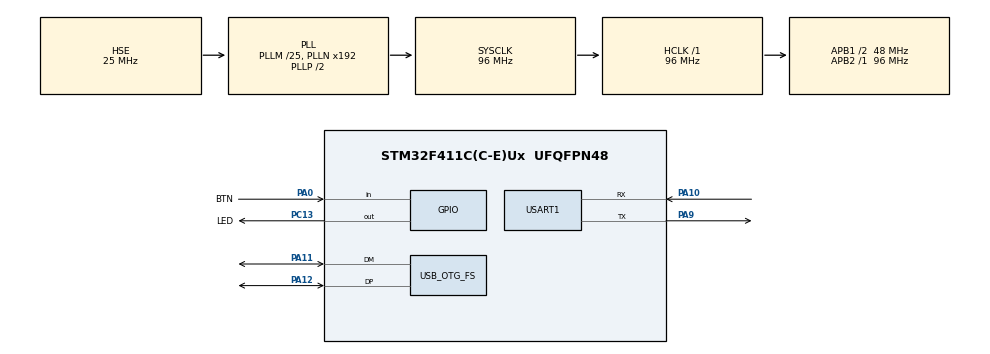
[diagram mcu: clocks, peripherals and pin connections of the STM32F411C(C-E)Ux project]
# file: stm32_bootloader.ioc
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Mcu.Family=STM32F4
Mcu.Name=STM32F411C(C-E)Ux
Mcu.Package=UFQFPN48
NVIC.OTG_FS_IRQn=true\:0\:0\:false\:false\:true\:false\:true\:true
NVIC.PriorityGroup=NVIC_PRIORITYGROUP_4
PA0-WKUP.GPIO_Label=BTN
PA0-WKUP.GPIO_PuPd=GPIO_PULLUP
PA0-WKUP.Signal=GPIO_Input
PA10.Mode=Asynchronous
PA10.Signal=USART1_RX
PA11.Mode=Device_Only
PA11.Signal=USB_OTG_FS_DM
PA12.Mode=Device_Only
PA12.Signal=USB_OTG_FS_DP
PA13.Mode=Serial_Wire
PA13.Signal=SYS_JTMS-SWDIO
PA14.Mode=Serial_Wire
PA14.Signal=SYS_JTCK-SWCLK
PA9.Mode=Asynchronous
PA9.Signal=USART1_TX
PC13-ANTI_TAMP.GPIO_Label=LED
PC13-ANTI_TAMP.GPIO_ModeDefaultOutputPP=GPIO_MODE_OUTPUT_OD
PC13-ANTI_TAMP.GPIO_PuPd=GPIO_NOPULL
PC13-ANTI_TAMP.PinState=GPIO_PIN_SET
PC13-ANTI_TAMP.Signal=GPIO_Output
PH0\ -\ OSC_IN.Mode=HSE-External-Oscillator
PH0\ -\ OSC_IN.Signal=RCC_OSC_IN
PH1\ -\ OSC_OUT.Mode=HSE-External-Oscillator
PH1\ -\ OSC_OUT.Signal=RCC_OSC_OUT
ProjectManager.HeapSize=0x200
ProjectManager.StackSize=0x400
ProjectManager.TargetToolchain=STM32CubeIDE
RCC.48MHZClocksFreq_Value=48000000
RCC.AHBFreq_Value=96000000
RCC.APB1CLKDivider=RCC_HCLK_DIV2
RCC.APB1Freq_Value=48000000
RCC.APB1TimFreq_Value=96000000
RCC.APB2Freq_Value=96000000
RCC.APB2TimFreq_Value=96000000
RCC.CortexFreq_Value=96000000
RCC.HCLKFreq_Value=96000000
RCC.HSE_VALUE=25000000
RCC.HSI_VALUE=16000000
RCC.LSE_VALUE=32768
RCC.PLLM=25
RCC.SYSCLKFreq_VALUE=96000000
RCC.SYSCLKSource=RCC_SYSCLKSOURCE_PLLCLK
RCC.VCOOutputFreq_Value=192000000
USART1.VirtualMode=VM_ASYNC
USB_DEVICE.CLASS_NAME_FS=DFU
USB_DEVICE.USBD_DFU_APP_DEFAULT_ADD=0x08008000
USB_DEVICE.VirtualMode=Dfu
USB_DEVICE.VirtualModeFS=Dfu_FS
USB_OTG_FS.VirtualMode=Device_Only
VP_USB_DEVICE_VS_USB_DEVICE_DFU_FS.Mode=DFU_FS
board=custom

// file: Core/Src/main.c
/* USER CODE BEGIN Header */
/**
 ******************************************************************************
 * @file           : main.c
 * @brief          : Main program body
 ******************************************************************************
 * @attention
 *
 * Copyright (c) 2025 STMicroelectronics.
 * All rights reserved.
 *
 * This software is licensed under terms that can be found in the LICENSE file
 * in the root directory of this software component.
 * If no LICENSE file comes with this software, it is provided AS-IS.
 *
 ******************************************************************************
 */
/* USER CODE END Header */
#include "main.h"

#include "gpio.h"
#include "usart.h"
#include "usb_device.h"

/* USER CODE BEGIN PD */
typedef struct {
    __IO uint32_t flag, reserved;
} boot_flag_t;

#define APP_ADDR (0x08008000UL)

#define BOOT_FLAG_ADDR (0x20000000UL)
#define APP_FLAG (0xDEADBEEFUL)  // Signal: Jump to Application
#define DFU_FLAG (0xA5A5A5A5UL)  // Signal: Enter Firmware Update mode

#define RESERVED (0x0U)

#define APP_SP (*(__IO uint32_t *)(APP_ADDR))         // app stack pointer addr
#define APP_ENTRY (*(__IO uint32_t *)(APP_ADDR + 4))  // app reset handler addr

#define BOOT_FLAG_PTR ((boot_flag_t *)BOOT_FLAG_ADDR)
/* USER CODE END PD */

void SystemClock_Config(void);

/* USER CODE BEGIN 0 */

void _halt() {
    __disable_irq();
    while (1) {
        __WFI();
    }
}

void delay(uint32_t ms) {
    uint32_t _wait = uwTick + ms;
    while ((int32_t)(uwTick - _wait) < 0) {
        __NOP();
    }
}

void set_boot_flag(uint32_t flag) {
    BOOT_FLAG_PTR->flag = flag;
    BOOT_FLAG_PTR->reserved = RESERVED;
}

void check_app_vector_table(void) {
    uint8_t is_app_sp_valid = (APP_SP >= SRAM_BASE) && (APP_SP <= SRAM_BASE + 128 * 1024) && ((APP_SP & 0x3UL) == 0x0U);
    uint8_t is_app_entry_valid = (APP_ENTRY >= APP_ADDR) && (APP_ENTRY <= FLASH_END);
    uint8_t is_thumb_mode = (APP_ENTRY & 0x1UL) == 0x1UL;

    uint8_t is_app_present = is_app_sp_valid && is_app_entry_valid && is_thumb_mode;

    // #define COLOR_RESET "\x1B[0m"
    // #define COLOR_BORDER "\x1B[35m"  // Magenta for borders
    // #define COLOR_HEADER "\x1B[36m"  // Cyan for section headers
    // #define COLOR_LABEL "\x1B[37m"   // White/gray for field names
    // #define COLOR_ADDR "\x1B[33m"    // Yellow for addresses
    // #define COLOR_TRUE "\x1B[32m"    // Green for true
    // #define COLOR_FALSE "\x1B[31m"   // Red for false
    //
    // #define BOOL_COLOR(b) ((b) ? COLOR_TRUE "true " COLOR_RESET : COLOR_FALSE "false" COLOR_RESET)
    //
    //     printf(COLOR_BORDER "┌──────────────────────────────────────────────┐\n" COLOR_RESET);
    //     printf(COLOR_BORDER "│" COLOR_HEADER "               Bootloader Info                " COLOR_BORDER "│\n" COLOR_RESET);
    //     printf(COLOR_BORDER "├──────────────────────────────────────────────┤\n" COLOR_RESET);
    //
    //     printf(COLOR_BORDER "│" COLOR_LABEL " Boot_Flag.flag        : " COLOR_ADDR "0x%08lX" COLOR_BORDER "           │\n" COLOR_RESET, BOOT_FLAG_PTR->flag);
    //     printf(COLOR_BORDER "│" COLOR_LABEL " Boot_Flag.reserved    : " COLOR_ADDR "0x%08lX" COLOR_BORDER "           │\n" COLOR_RESET, BOOT_FLAG_PTR->reserved);
    //     printf(COLOR_BORDER "│                                              │\n" COLOR_RESET);
    //
    //     printf(COLOR_BORDER "│" COLOR_HEADER " App Vector Table:                            " COLOR_BORDER "│\n" COLOR_RESET);
    //     printf(COLOR_BORDER "│" COLOR_LABEL "   APP_SP              : " COLOR_ADDR "0x%08lX" COLOR_BORDER "           │\n" COLOR_RESET, APP_SP);
    //     printf(COLOR_BORDER "│" COLOR_LABEL "   APP_ENTRY           : " COLOR_ADDR "0x%08lX" COLOR_BORDER "           │\n" COLOR_RESET, APP_ENTRY);
    //     printf(COLOR_BORDER "│                                              │\n" COLOR_RESET);
    //
    //     printf(COLOR_BORDER "│" COLOR_HEADER " User Application Details:                    " COLOR_BORDER "│\n" COLOR_RESET);
    //     printf(COLOR_BORDER "│" COLOR_LABEL "   Stack Pointer in RAM  : %s" COLOR_BORDER "              │\n" COLOR_RESET, BOOL_COLOR(is_app_sp_valid));
    //     printf(COLOR_BORDER "│" COLOR_LABEL "   Entry Point in Flash  : %s" COLOR_BORDER "              │\n" COLOR_RESET, BOOL_COLOR(is_app_entry_valid));
    //     printf(COLOR_BORDER "│" COLOR_LABEL "   Entry is Thumb Mode   : %s" COLOR_BORDER "              │\n" COLOR_RESET, BOOL_COLOR(is_thumb_mode));
    //     printf(COLOR_BORDER "│                                              │\n" COLOR_RESET);
    //
    //     printf(COLOR_BORDER "│" COLOR_HEADER " => User Application Available : %s" COLOR_BORDER "        │\n" COLOR_RESET, BOOL_COLOR(is_app_present));
    //     printf(COLOR_BORDER "└──────────────────────────────────────────────┘\n" COLOR_RESET);

#define BOOL_STR(bool) ((bool) ? "true" : "false")
    printf("\n+---------------------------------------------+\n");
    printf("|               Bootloader Info               |\n");
    printf("+---------------------------------------------+\n");

    printf("| Boot Flag .flag       : 0x%08lX          |\n", BOOT_FLAG_PTR->flag);
    printf("| Boot Flag .reserved   : 0x%08lX          |\n", BOOT_FLAG_PTR->reserved);
    printf("|                                             |\n");

    printf("| User Application Vector Table:              |\n");
    printf("|   Application Stack   : 0x%08lX          |\n", APP_SP);
    printf("|   Application Entry   : 0x%08lX          |\n", APP_ENTRY);
    printf("|                                             |\n");

    printf("| User Application Details:                   |\n");
    printf("|   Stack Pointer in RAM : %-5s              |\n", BOOL_STR(is_app_sp_valid));
    printf("|   Entry Point in Flash : %-5s              |\n", BOOL_STR(is_app_entry_valid));
    printf("|   MCU in Thumb Mode    : %-5s              |\n", BOOL_STR(is_thumb_mode));
    printf("|                                             |\n");

    printf("| => User Application Valid : %-5s           |\n", BOOL_STR(is_app_present));
    printf("+--------------------xxx----------------------+\n\n");
}

uint8_t is_app_vector_table_valid(void) {
    uint8_t is_app_sp_valid = (APP_SP >= SRAM_BASE) && (APP_SP <= SRAM_BASE + 128 * 1024) && ((APP_SP & 0x3UL) == 0x0U);
    uint8_t is_app_entry_valid = (APP_ENTRY >= APP_ADDR) && (APP_ENTRY <= FLASH_END);
    uint8_t is_thumb_mode = (APP_ENTRY & 0x1UL) == 0x1UL;

    return is_app_sp_valid && is_app_entry_valid && is_thumb_mode;
}

void jump_to_application(void) {
    __set_MSP(APP_SP);

    SCB->VTOR = APP_ADDR;
    ((void (*)(void))APP_ENTRY)();

    _halt();
}

void check_boot_flag() {
    if (BOOT_FLAG_PTR->flag == APP_FLAG && BOOT_FLAG_PTR->reserved == RESERVED) {
        set_boot_flag(RESERVED);
        jump_to_application();
    }
}

void check_firmware_upgrade_btn(void) {
    if (BOOT_FLAG_PTR->flag == DFU_FLAG && BOOT_FLAG_PTR->reserved == RESERVED) {
        set_boot_flag(RESERVED);
        return;
    }

    if (HAL_GPIO_ReadPin(BTN_GPIO_Port, BTN_Pin) == GPIO_PIN_RESET) {
        printf("Button is pressed, Waiting for realease...\n");
        while (HAL_GPIO_ReadPin(GPIOA, GPIO_PIN_0) == GPIO_PIN_RESET) {
            delay(10);
        }
        delay(50);  // debounce wait...
        printf("Button is released, Entering in DFU mode...\n");

        set_boot_flag(DFU_FLAG);
    } else {
        printf("Booting User Application...\n");

        if (!is_app_vector_table_valid()) {
            delay(500);
            printf("Failed, User Application is not available...\n");

            // delay(50);
            Error_Handler();
        }

        set_boot_flag(APP_FLAG);
    }

    delay(10);
    NVIC_SystemReset();
}

void print_boot_flag(void) {
    printf("Boot_Flag flag    : 0x%08lX\n", BOOT_FLAG_PTR->flag);
    printf("Boot_Flag reserved: 0x%08lX\n", BOOT_FLAG_PTR->reserved);
}

void print_boot_flag_bytes(void) {
    __IO uint8_t *boot_flag_bytes = (__IO uint8_t *)BOOT_FLAG_ADDR;

    printf("BOOT_FLAG_PTR 8-byte region at 0x20000000:\n");

    for (int i = 0; i < 8; ++i) {
        printf("0x%08lX: 0x%02X\n", BOOT_FLAG_ADDR + i, boot_flag_bytes[i]);
    }
}

typedef struct {
    uint32_t interval;
    uint32_t last_tick;
} TimedTask;

uint8_t is_time_elapsed(TimedTask *task, uint32_t now) {
    if ((int32_t)(now - task->last_tick) >= (int32_t)task->interval) {
        task->last_tick = now;
        return 1;
    }
    return 0;
}

/* USER CODE END 0 */

int main(void) {
    /* USER CODE BEGIN 1 */
    check_boot_flag();
    /* USER CODE END 1 */

    /* MCU Configuration--------------------------------------------------------*/

    /* Reset of all peripherals, Initializes the Flash interface and the Systick.
     */
    HAL_Init();

    /* Configure the system clock */
    SystemClock_Config();

    /* USER CODE BEGIN SysInit */

    MX_GPIO_Init();
    MX_USART1_UART_Init();

    check_app_vector_table();
    check_firmware_upgrade_btn();

    /* USER CODE END SysInit */

    /* Initialize all configured peripherals */
    MX_USB_DEVICE_Init();

    /* Infinite loop */
    /* USER CODE BEGIN WHILE */

    TimedTask led_blink = {.interval = 100, .last_tick = 0};
    TimedTask print_tick = {.interval = 1000, .last_tick = 0};

    while (1) {
        uint32_t _now = uwTick;

        if (is_time_elapsed(&led_blink, _now)) {
            HAL_GPIO_TogglePin(LED_GPIO_Port, LED_Pin);
        }

        if (is_time_elapsed(&print_tick, _now)) {
            printf("Boot_Tick %lu\n", _now / print_tick.interval);
        }

        /* USER CODE END WHILE */

    }
}

void SystemClock_Config(void) {
    RCC_OscInitTypeDef RCC_OscInitStruct = {0};
    RCC_ClkInitTypeDef RCC_ClkInitStruct = {0};

    /** Configure the main internal regulator output voltage
     */
    __HAL_RCC_PWR_CLK_ENABLE();
    __HAL_PWR_VOLTAGESCALING_CONFIG(PWR_REGULATOR_VOLTAGE_SCALE1);

    /** Initializes the RCC Oscillators according to the specified parameters
     * in the RCC_OscInitTypeDef structure.
     */
    RCC_OscInitStruct.OscillatorType = RCC_OSCILLATORTYPE_HSE;
    RCC_OscInitStruct.HSEState = RCC_HSE_ON;
    RCC_OscInitStruct.PLL.PLLState = RCC_PLL_ON;
    RCC_OscInitStruct.PLL.PLLSource = RCC_PLLSOURCE_HSE;
    RCC_OscInitStruct.PLL.PLLM = 25;
    RCC_OscInitStruct.PLL.PLLN = 192;
    RCC_OscInitStruct.PLL.PLLP = RCC_PLLP_DIV2;
    RCC_OscInitStruct.PLL.PLLQ = 4;
    if (HAL_RCC_OscConfig(&RCC_OscInitStruct) != HAL_OK) {
        Error_Handler();
    }

    /** Initializes the CPU, AHB and APB buses clocks
     */
    RCC_ClkInitStruct.ClockType = RCC_CLOCKTYPE_HCLK | RCC_CLOCKTYPE_SYSCLK | RCC_CLOCKTYPE_PCLK1 | RCC_CLOCKTYPE_PCLK2;
    RCC_ClkInitStruct.SYSCLKSource = RCC_SYSCLKSOURCE_PLLCLK;
    RCC_ClkInitStruct.AHBCLKDivider = RCC_SYSCLK_DIV1;
    RCC_ClkInitStruct.APB1CLKDivider = RCC_HCLK_DIV2;
    RCC_ClkInitStruct.APB2CLKDivider = RCC_HCLK_DIV1;

    if (HAL_RCC_ClockConfig(&RCC_ClkInitStruct, FLASH_LATENCY_3) != HAL_OK) {
        Error_Handler();
    }
}

void Error_Handler(void) {
    /* USER CODE BEGIN Error_Handler_Debug */
    /* User can add his own implementation to report the HAL error return state */
    // __disable_irq();
    //
    TimedTask err_led_blink = {.interval = 1000, .last_tick = 0};

    while (1) {
        uint32_t _now = uwTick;

        if (is_time_elapsed(&err_led_blink, _now)) {
            static uint8_t _blink_count = 0;

            HAL_GPIO_TogglePin(LED_GPIO_Port, LED_Pin);
            _blink_count++;

            if (_blink_count >= 4) {            // 2 blinks = 4 toggles (ON-OFF-ON-OFF)
                err_led_blink.interval = 1500;  // Long pause
                _blink_count = 0;
            } else {
                err_led_blink.interval = 80;  // Short blink
            }
        }
    }
    /* USER CODE END Error_Handler_Debug */
}

#ifdef USE_FULL_ASSERT
/**
 * @brief  Reports the name of the source file and the source line number
 *         where the assert_param error has occurred.
 * @param  file: pointer to the source file name
 * @param  line: assert_param error line source number
 * @retval None
 */
void assert_failed(uint8_t *file, uint32_t line) {
    /* USER CODE BEGIN 6 */
    /* User can add his own implementation to report the file name and line
       number, ex: printf("Wrong parameters value: file %s on line %d\r\n", file,
       line) */
    /* USER CODE END 6 */
}
#endif /* USE_FULL_ASSERT */
